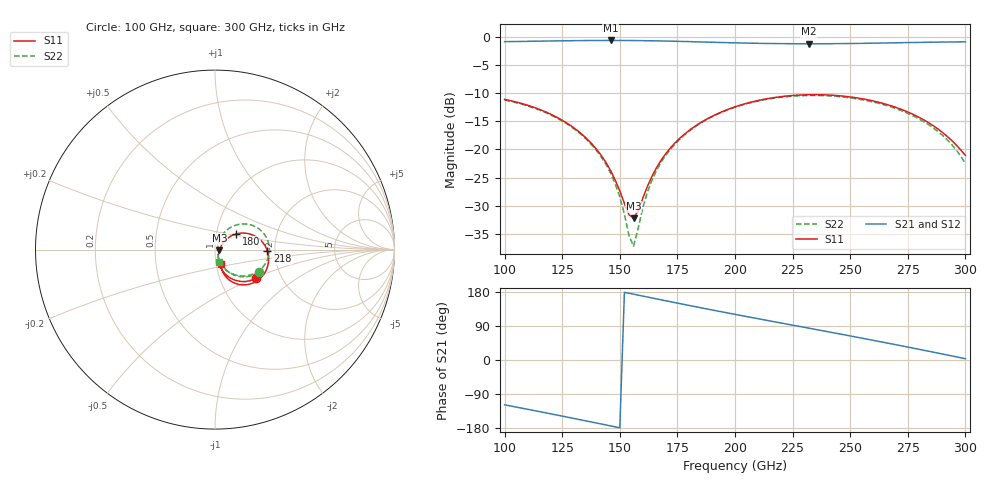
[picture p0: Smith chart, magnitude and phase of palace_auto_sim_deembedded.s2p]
! Created with skrf 1.11.0 (http://scikit-rf.org).
# GHz S DB R 50.0
!freq dBS11 angS11 dBS21 angS21 dBS12 angS12 dBS22 angS22
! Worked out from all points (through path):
!   101 points, 100 GHz to 300 GHz, reference 50 ohm
!   highest |S21| = -0.57 dB at 146 GHz (marker M1); lowest = -1.2 dB at 232 GHz (marker M2)
!   group delay of S21, straight-line fit = 3.29 ps
!   lowest |S11| = -32.3 dB at 156 GHz (marker M3), VSWR 1.05, Z = 52.5 - j0.431 ohm
!   |S11| at or under -10 dB: start of sweep to end of sweep
!   |S22| runs from -37.2 to -10.4 dB; largest |S21 - S12| = 1.1e-14
!   S11 on the Smith chart (normalised r, x): 100 GHz: 1.49, -0.52; 180 GHz: 1.25, +0.22; 218 GHz: 1.82, -0.03; 300 GHz: 1.05, -0.17
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100  -11.08 -34.9  -0.78 -118.3  -0.78 -118.3  -11.20 -27.0
120  -13.71 -56.2  -0.66 -142.0  -0.66 -142.0  -13.84 -47.5
134  -17.45 -69.2  -0.59 -159.1  -0.59 -159.1  -17.61 -61.0
140  -20.02 -72.7  -0.58 -166.5  -0.58 -166.5  -20.25 -65.7
146  -23.77 -72.1  -0.57 -173.9  -0.57 -173.9  -24.22 -67.8
150  -27.40 -64.2  -0.57 -178.9  -0.57 -178.9  -28.46 -64.0
154  -31.64 -35.9  -0.58 176.1  -0.58 176.1  -35.37 -36.8
156  -32.26 -9.7  -0.59 173.6  -0.59 173.6  -37.24 7.3
158  -30.86 13.8  -0.60 171.1  -0.60 171.1  -33.99 43.1
162  -26.56 35.7  -0.62 166.2  -0.62 166.2  -27.59 62.4
168  -21.87 42.2  -0.66 158.7  -0.66 158.7  -22.25 64.4
174  -18.81 40.5  -0.71 151.4  -0.71 151.4  -19.02 60.9
180  -16.63 36.3  -0.77 144.1  -0.77 144.1  -16.76 55.8
200  -12.40 17.4  -1.00 120.4  -1.00 120.4  -12.47 35.8
218  -10.69 -1.6  -1.13 99.9  -1.13 99.9  -10.79 16.7
232  -10.24 -16.5  -1.16 84.1  -1.16 84.1  -10.38 1.8
234  -10.24 -18.7  -1.16 81.8  -1.16 81.8  -10.37 -0.3
252  -10.75 -37.5  -1.10 61.2  -1.10 61.2  -10.92 -19.6
268  -12.25 -53.4  -1.00 42.5  -1.00 42.5  -12.46 -36.9
288  -16.33 -69.2  -0.87 18.3  -0.87 18.3  -16.77 -58.7
294  -18.38 -70.9  -0.84 10.9  -0.84 10.9  -19.10 -65.0
300  -21.05 -68.3  -0.82 3.4  -0.82 3.4  -22.49 -70.6
